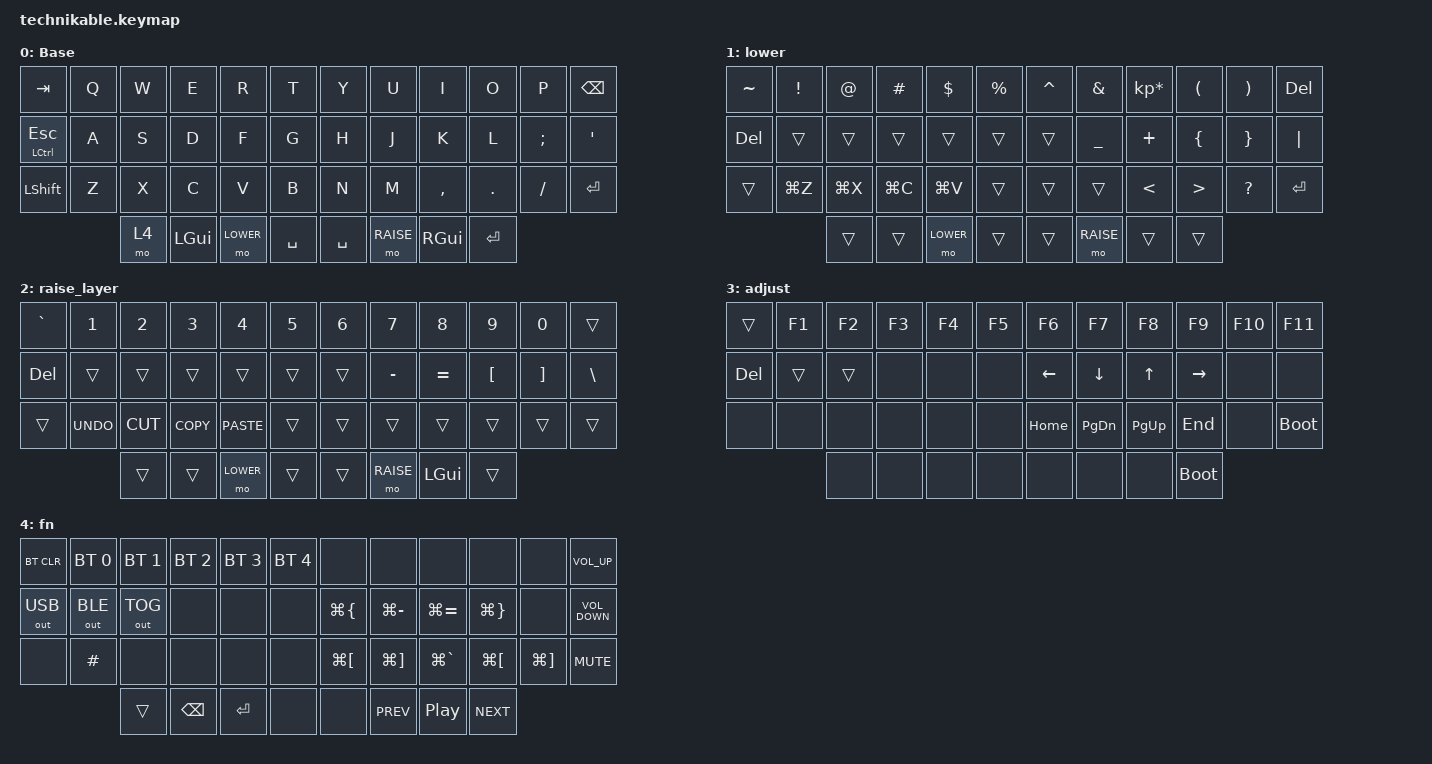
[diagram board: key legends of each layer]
/*
 * Copyright (c) 2022 Pete Johanson
 *
 * SPDX-License-Identifier: MIT
 */

#include <behaviors.dtsi>
#include <dt-bindings/zmk/keys.h>
#include <dt-bindings/zmk/bt.h>
#include <dt-bindings/zmk/ext_power.h>
#include <dt-bindings/zmk/outputs.h>

#define BASE 0
#define LOWER 1
#define RAISE 2
#define ADJUST 3
#define FN 4

// Using layer taps on thumbs, having quick tap as well helps w/ repeating space/backspace
&lt { quick_tap_ms = <200>; };

/ {
    chosen {
       zmk,matrix_transform = &ortho_transform;
    };

   // Activate ADJUST layer by pressing raise and lower
    conditional_layers {
        compatible = "zmk,conditional-layers";
        adjust_layer {
            if-layers = <LOWER RAISE>;
            then-layer = <ADJUST>;
        };
    };

    keymap {
        compatible = "zmk,keymap";

        base_layer {
            label = "Base";
            bindings = <
 &kp TAB        &kp Q      &kp W      &kp E       &kp R          &kp T          &kp Y            &kp U          &kp I       &kp O      &kp P         &kp BKSP
 &mt LCTRL ESC  &kp A      &kp S      &kp D       &kp F          &kp G          &kp H            &kp J          &kp K       &kp L      &kp SEMI      &kp QUOT
 &kp LSHFT      &kp Z      &kp X      &kp C       &kp V          &kp B          &kp N            &kp M          &kp COMMA   &kp DOT    &kp FSLH      &kp RET
                       &mo 4    &kp LGUI   &mo LOWER      &kp SPACE      &kp SPACE        &mo RAISE    &kp RGUI   &kp ENTER
            >;
        };



        lower_layer {
            label = "lower";
            bindings = <
&kp TILDE &kp EXCL  &kp AT    &kp HASH    &kp DLLR  &kp PRCNT &kp CARET  &kp AMPS       &kp KP_MULTIPLY &kp LPAR        &kp RPAR         &kp DEL
&kp DEL      &trans    &trans    &trans      &trans    &trans    &trans     &kp UNDERSCORE &kp PLUS        &kp LEFT_BRACE  &kp RIGHT_BRACE  &kp PIPE
&trans    &kp LG(Z) &kp LG(X) &kp LG(C)  &kp LG(V)  &trans     &trans    &trans         &kp LT          &kp GT          &kp QMARK        &kp ENTER
                              &trans     &trans     &mo LOWER  &trans &trans  &mo RAISE  &trans   &trans
            >;
        };

        raise_layer {
            bindings = <
&kp GRAVE  &kp N1      &kp N2    &kp N3      &kp N4      &kp N5   &kp N6      &kp N7    &kp N8    &kp N9   &kp N0    &trans
&kp DEL    &trans      &trans    &trans      &trans      &trans   &trans      &kp MINUS &kp EQUAL &kp LBKT &kp RBKT  &kp BSLH
&trans     &kp K_UNDO  &kp K_CUT &kp K_COPY  &kp K_PASTE &trans   &trans      &trans    &trans    &trans   &trans    &trans
                                &trans      &trans      &mo LOWER  &trans   &trans  &mo RAISE   &kp LGUI  &trans
            >;
        };


        adjust_layer {
            label = "adjust";
            bindings = <
&trans    &kp F1    &kp F2    &kp F3      &kp F4    &kp F5   &kp F6    &kp F7    &kp F8       &kp F9      &kp F10   &kp F11
&kp DEL   &trans    &trans    &none       &none     &none    &kp LEFT  &kp DOWN  &kp UP       &kp RIGHT   &none     &none
&none     &none     &none     &none       &none     &none    &kp HOME  &kp PG_DN &kp PG_UP    &kp END     &none     &bootloader
                              &none       &none     &none    &none   &none    &none     &none     &bootloader
            >;
        };

        fn_layer {
            label = "fn";
            bindings = <
&bt BT_CLR         &bt BT_SEL 0    &bt BT_SEL 1    &bt BT_SEL 2    &bt BT_SEL 3    &bt BT_SEL 4   &none            &none         &none         &none            &none          &kp C_VOLUME_UP
&out OUT_USB       &out OUT_BLE    &out OUT_TOG     &none           &none           &none          &kp LG(LBRC)     &kp LG(MINUS) &kp LG(EQUAL) &kp LG(RBRC)     &none          &kp C_VOLUME_DOWN
&none              &kp HASH        &none           &none           &none           &none          &kp LG(LBKT)     &kp LG(RBKT)  &kp LG(GRAVE) &kp LG(LBKT)     &kp LG(RBKT)   &kp K_MUTE
                                              &trans           &kp BSPC        &kp ENTER          &none            &none     &kp C_PREV            &kp C_PLAY_PAUSE         &kp C_NEXT
            >;
        };

    };
};

